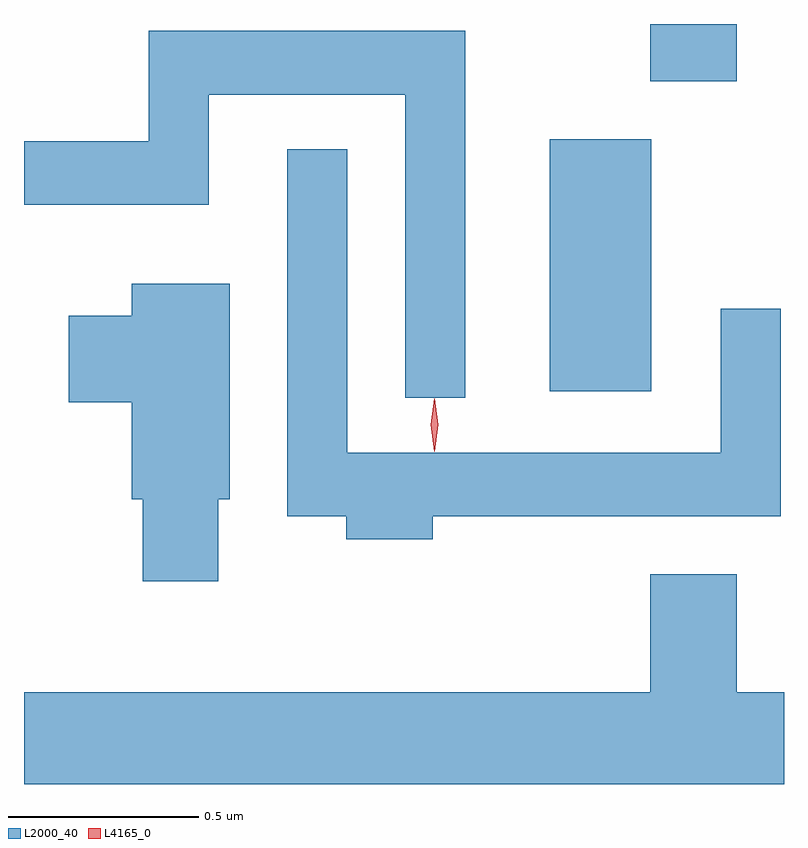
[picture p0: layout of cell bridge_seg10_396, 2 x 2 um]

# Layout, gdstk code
import gdstk
lib = gdstk.Library(unit=1e-6, precision=1e-09)
def R(c, l, rs):  # rectangles x0, y0, x1, y1
    for r in rs: c.add(gdstk.rectangle(r[:2], r[2:], *l))
def P(c, l, *ps):  # polygons
    for p in ps: c.add(gdstk.Polygon(p, *l))
L2000_40 = (2000, 40)
L4165_0 = (4165, 0)

bridge_seg10_396 = lib.new_cell('bridge_seg10_396')
R(bridge_seg10_396, L2000_40, [(1060.706,2126.076,1060.974,2126.739), (1060.971,2126.891,1061.199,2127.042)])
P(bridge_seg10_396, L2000_40, [(1060.484,2127.024),(1059.651,2127.024),(1059.651,2126.734),(1059.323,2126.734),(1059.323,2126.566),(1059.809,2126.566),(1059.809,2126.856),(1060.326,2126.856),(1060.326,2126.058),(1060.484,2126.058)],
  [(1060.399,2125.746),(1061.314,2125.746),(1061.314,2126.293),(1061.156,2126.293),(1061.156,2125.914),(1060.174,2125.914),(1060.174,2126.713),(1060.016,2126.713),(1060.016,2125.746),(1060.171,2125.746),(1060.171,2125.686),(1060.399,2125.686)],
  [(1059.834,2125.791),(1059.864,2125.791),(1059.864,2126.359),(1059.606,2126.359),(1059.606,2126.274),(1059.441,2126.274),(1059.441,2126.046),(1059.606,2126.046),(1059.606,2125.791),(1059.636,2125.791),(1059.636,2125.576),(1059.834,2125.576)],
  [(1061.323,2125.284),(1061.199,2125.284),(1061.199,2125.594),(1060.971,2125.594),(1060.971,2125.284),(1059.323,2125.284),(1059.323,2125.042),(1061.323,2125.042)])
P(bridge_seg10_396, L4165_0, [(1060.403,2125.917),(1060.402,2125.918),(1060.393,2125.987),(1060.402,2126.056),(1060.403,2126.056),(1060.404,2126.056),(1060.413,2125.987),(1060.404,2125.918)])

lib.write_gds('bridge_seg10_396.gds')
